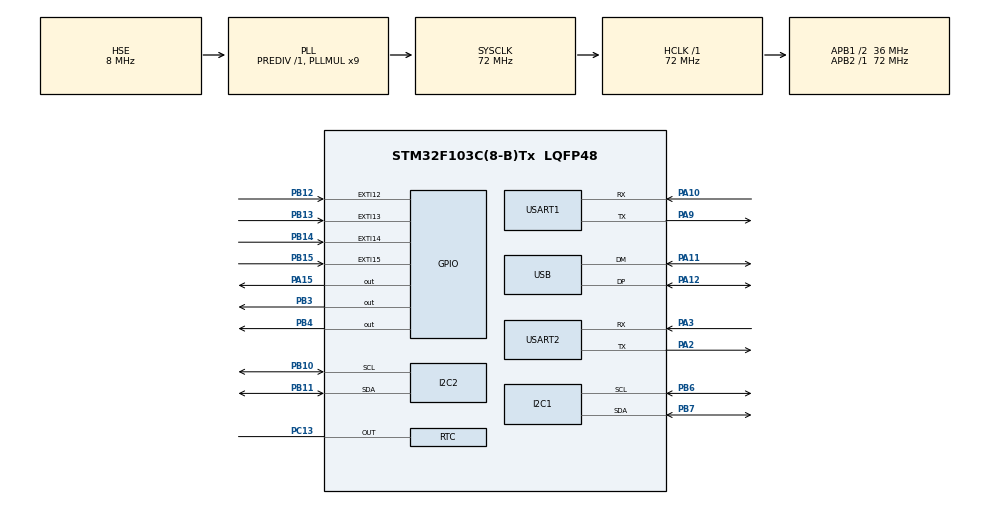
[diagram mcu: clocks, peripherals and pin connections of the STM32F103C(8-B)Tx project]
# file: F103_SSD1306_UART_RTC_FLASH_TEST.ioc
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Dma.I2C2_RX.1.Direction=DMA_PERIPH_TO_MEMORY
Dma.I2C2_RX.1.Instance=DMA1_Channel5
Dma.I2C2_RX.1.MemDataAlignment=DMA_MDATAALIGN_BYTE
Dma.I2C2_RX.1.MemInc=DMA_MINC_ENABLE
Dma.I2C2_RX.1.Mode=DMA_NORMAL
Dma.I2C2_RX.1.PeriphDataAlignment=DMA_PDATAALIGN_BYTE
Dma.I2C2_RX.1.PeriphInc=DMA_PINC_DISABLE
Dma.I2C2_RX.1.Priority=DMA_PRIORITY_LOW
Dma.I2C2_TX.0.Direction=DMA_MEMORY_TO_PERIPH
Dma.I2C2_TX.0.Instance=DMA1_Channel4
Dma.I2C2_TX.0.MemDataAlignment=DMA_MDATAALIGN_BYTE
Dma.I2C2_TX.0.MemInc=DMA_MINC_ENABLE
Dma.I2C2_TX.0.Mode=DMA_NORMAL
Dma.I2C2_TX.0.PeriphDataAlignment=DMA_PDATAALIGN_BYTE
Dma.I2C2_TX.0.PeriphInc=DMA_PINC_DISABLE
Dma.I2C2_TX.0.Priority=DMA_PRIORITY_LOW
Dma.Request0=I2C2_TX
Dma.Request1=I2C2_RX
I2C1.I2C_Mode=I2C_Fast
Mcu.Family=STM32F1
Mcu.Name=STM32F103C(8-B)Tx
Mcu.Package=LQFP48
NVIC.DMA1_Channel4_IRQn=true\:0\:0\:false\:false\:true\:false
NVIC.DMA1_Channel5_IRQn=true\:0\:0\:false\:false\:true\:false
NVIC.EXTI15_10_IRQn=true\:0\:0\:false\:true\:true\:2\:true
NVIC.I2C2_ER_IRQn=true\:0\:0\:false\:false\:true\:true
NVIC.I2C2_EV_IRQn=true\:0\:0\:false\:false\:true\:true
NVIC.PriorityGroup=NVIC_PRIORITYGROUP_4
NVIC.RTC_Alarm_IRQn=true\:0\:0\:false\:true\:true\:4\:true
NVIC.TIM2_IRQn=true\:0\:0\:false\:true\:true\:6\:true
NVIC.TIM4_IRQn=true\:0\:0\:false\:false\:true\:true
NVIC.USART1_IRQn=true\:0\:0\:false\:true\:true\:3\:true
NVIC.USART2_IRQn=true\:0\:0\:false\:true\:true\:7\:true
NVIC.USB_LP_CAN1_RX0_IRQn=true\:0\:0\:false\:true\:true\:5\:true
PA10.Mode=Asynchronous
PA10.Signal=USART1_RX
PA11.Mode=Device
PA11.Signal=USB_DM
PA12.Mode=Device
PA12.Signal=USB_DP
PA13.Mode=Serial_Wire
PA13.Signal=SYS_JTMS-SWDIO
PA14.Mode=Serial_Wire
PA14.Signal=SYS_JTCK-SWCLK
PA15.Signal=GPIO_Output
PA2.Mode=Asynchronous
PA2.Signal=USART2_TX
PA3.Mode=Asynchronous
PA3.Signal=USART2_RX
PA9.Mode=Asynchronous
PA9.Signal=USART1_TX
PB10.Mode=I2C
PB10.Signal=I2C2_SCL
PB11.Mode=I2C
PB11.Signal=I2C2_SDA
PB12.GPIO_ModeDefaultEXTI=GPIO_MODE_IT_FALLING
PB12.Signal=GPXTI12
PB13.GPIO_ModeDefaultEXTI=GPIO_MODE_IT_FALLING
PB13.Signal=GPXTI13
PB14.GPIO_ModeDefaultEXTI=GPIO_MODE_IT_FALLING
PB14.Signal=GPXTI14
PB15.GPIO_ModeDefaultEXTI=GPIO_MODE_IT_FALLING
PB15.Signal=GPXTI15
PB3.Signal=GPIO_Output
PB4.Signal=GPIO_Output
PB6.Mode=I2C
PB6.Signal=I2C1_SCL
PB7.Mode=I2C
PB7.Signal=I2C1_SDA
PC13-TAMPER-RTC.Mode=RTC OUT
PC13-TAMPER-RTC.Signal=RTC_OUT
PC14-OSC32_IN.Mode=LSE-External-Oscillator
PC14-OSC32_IN.Signal=RCC_OSC32_IN
PC15-OSC32_OUT.Mode=LSE-External-Oscillator
PC15-OSC32_OUT.Signal=RCC_OSC32_OUT
PD0-OSC_IN.Mode=HSE-External-Oscillator
PD0-OSC_IN.Signal=RCC_OSC_IN
PD1-OSC_OUT.Mode=HSE-External-Oscillator
PD1-OSC_OUT.Signal=RCC_OSC_OUT
ProjectManager.HeapSize=0x200
ProjectManager.StackSize=0x400
ProjectManager.TargetToolchain=TrueSTUDIO
RCC.ADCPresc=RCC_ADCPCLK2_DIV6
RCC.AHBFreq_Value=72000000
RCC.APB1CLKDivider=RCC_HCLK_DIV2
RCC.APB1Freq_Value=36000000
RCC.APB1TimFreq_Value=72000000
RCC.APB2Freq_Value=72000000
RCC.APB2TimFreq_Value=72000000
RCC.HCLKFreq_Value=72000000
RCC.PLLMUL=RCC_PLL_MUL9
RCC.PLLSourceVirtual=RCC_PLLSOURCE_HSE
RCC.RTCClockSelection=RCC_RTCCLKSOURCE_LSE
RCC.SYSCLKFreq_VALUE=72000000
RCC.SYSCLKSource=RCC_SYSCLKSOURCE_PLLCLK
RCC.USBFreq_Value=48000000
RCC.USBPrescaler=RCC_USBCLKSOURCE_PLL_DIV1_5
RTC.Date=10
RTC.Format=RTC_FORMAT_BCD
RTC.Hours=15
RTC.Hours_A-RTC\ OUT=15
RTC.Minutes=50
RTC.Minutes_A-RTC\ OUT=50
RTC.Month=RTC_MONTH_NOVEMBER
RTC.WeekDay=RTC_WEEKDAY_FRIDAY
RTC.Year=18
TIM2.Period=7199
TIM2.Prescaler=9
TIM4.Period=249
TIM4.Prescaler=7199
USART1.VirtualMode=VM_ASYNC
USART2.VirtualMode=VM_ASYNC
USB_DEVICE.CLASS_NAME_FS=CDC
USB_DEVICE.VirtualMode=Cdc
USB_DEVICE.VirtualModeFS=Cdc_FS
VP_RTC_VS_RTC_Activate.Mode=RTC_Enabled
VP_RTC_VS_RTC_Calendar.Mode=RTC_Calendar
VP_TIM2_VS_ClockSourceINT.Mode=Internal
VP_TIM4_VS_ClockSourceINT.Mode=Internal
VP_USB_DEVICE_VS_USB_DEVICE_CDC_FS.Mode=CDC_FS
board=custom

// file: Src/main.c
/**
  ******************************************************************************
  * @file           : main.c
  * @brief          : Main program body
  ******************************************************************************
  * This notice applies to any and all portions of this file
  * that are not between comment pairs USER CODE BEGIN and
  * USER CODE END. Other portions of this file, whether
  * inserted by the user or by software development tools
  * are owned by their respective copyright owners.
  *
  * Copyright (c) 2018 STMicroelectronics International N.V.
  * All rights reserved.
  *
  * Redistribution and use in source and binary forms, with or without
  * modification, are permitted, provided that the following conditions are met:
  *
  * 1. Redistribution of source code must retain the above copyright notice,
  *    this list of conditions and the following disclaimer.
  * 2. Redistributions in binary form must reproduce the above copyright notice,
  *    this list of conditions and the following disclaimer in the documentation
  *    and/or other materials provided with the distribution.
  * 3. Neither the name of STMicroelectronics nor the names of other
  *    contributors to this software may be used to endorse or promote products
  *    derived from this software without specific written permission.
  * 4. This software, including modifications and/or derivative works of this
  *    software, must execute solely and exclusively on microcontroller or
  *    microprocessor devices manufactured by or for STMicroelectronics.
  * 5. Redistribution and use of this software other than as permitted under
  *    this license is void and will automatically terminate your rights under
  *    this license.
  *
  * THIS SOFTWARE IS PROVIDED BY STMICROELECTRONICS AND CONTRIBUTORS "AS IS"
  * AND ANY EXPRESS, IMPLIED OR STATUTORY WARRANTIES, INCLUDING, BUT NOT
  * LIMITED TO, THE IMPLIED WARRANTIES OF MERCHANTABILITY, FITNESS FOR A
  * PARTICULAR PURPOSE AND NON-INFRINGEMENT OF THIRD PARTY INTELLECTUAL PROPERTY
  * RIGHTS ARE DISCLAIMED TO THE FULLEST EXTENT PERMITTED BY LAW. IN NO EVENT
  * SHALL STMICROELECTRONICS OR CONTRIBUTORS BE LIABLE FOR ANY DIRECT, INDIRECT,
  * INCIDENTAL, SPECIAL, EXEMPLARY, OR CONSEQUENTIAL DAMAGES (INCLUDING, BUT NOT
  * LIMITED TO, PROCUREMENT OF SUBSTITUTE GOODS OR SERVICES; LOSS OF USE, DATA,
  * OR PROFITS; OR BUSINESS INTERRUPTION) HOWEVER CAUSED AND ON ANY THEORY OF
  * LIABILITY, WHETHER IN CONTRACT, STRICT LIABILITY, OR TORT (INCLUDING
  * NEGLIGENCE OR OTHERWISE) ARISING IN ANY WAY OUT OF THE USE OF THIS SOFTWARE,
  * EVEN IF ADVISED OF THE POSSIBILITY OF SUCH DAMAGE.
  *
  ******************************************************************************
  */
#include "main.h"
#include "stm32f1xx_hal.h"
#include "dma.h"
#include "i2c.h"
#include "rtc.h"
#include "tim.h"
#include "usart.h"
#include "usb_device.h"
#include "gpio.h"

/* USER CODE BEGIN Includes */
#include "global.h"
#include "ssd1306.h"
#include "fonts.h"
//#include "stm32f1xx_hal_i2c.h"
#include "flash_eeprom.h"
#include <string.h>
/* USER CODE END Includes */

/* USER CODE BEGIN PV */
// uint8_t Rh_byte1, Rh_byte2, Temp_byte1, Temp_byte2;
uint16_t RH, TEMP;
//uint8_t check = 0;
// int temp_low, temp_high, rh_low, rh_high;

//--------------------------
   uint8_t RX2_RingBuf[64];
   uint8_t RX2_Ptr=0;
   uint8_t RX2_Length=0;
   uint8_t RX2_rdPtr=0;
   uint8_t rx2_data=0;
   uint8_t rd2_data=0;
   uint8_t RX2_ComBuf[32];
   uint8_t rd2_Length=0;
   uint8_t RX2_ComWptr=0;
//--------------------------
   uint8_t RX1_RingBuf[64];
   uint8_t RX1_Ptr=0;
   uint8_t RX1_Length=0;
   uint8_t RX1_rdPtr=0;
   uint8_t rx1_data=0;
   uint8_t rd1_data=0;
   uint8_t RX1_ComBuf[32];
   uint8_t rd1_Length=0;
   uint8_t RX1_ComWptr=0;
//--------------------------
   uint8_t RX_ComBuf[32];
   uint8_t RX_ComWptr=0;
   uint8_t s_len;
   char * command_str[] = {"/s dt", "/s a"};
//--------------------------

   RTC_TimeTypeDef rtc_time;
   RTC_DateTypeDef rtc_date;
// RTC_AlarmTypeDef rtc_alarm;
   volatile uint16_t Buzer_Time=0;
   volatile uint16_t MsageTime=0;

   TIM_User_InitTypeDef tim;

   volatile bool oneSecond_flg = false;     // 1 초 마다 true
   volatile bool oneHundredms_flg = false;     // 100 ms 마다 true
   // volatile bool fiveHundredms_flg = false;    // 500 ms 마다 true
   volatile uint16_t led_delay_time = 1000;

   volatile uint16_t adcval[1];        // ADC1 ch1 번의 외부로 부터 입력받는 변수

/* Private variables ---------------------------------------------------------*/
   extern uint8_t CDC_Transmit_FS(uint8_t* Buf, uint16_t Len);

   void CDC_TX_STR(char* str)
   {
	   CDC_Transmit_FS((uint8_t*)str, strlen(str));
   }

/* USER CODE END PV */

void SystemClock_Config(void);
static void MX_NVIC_Init(void);

/* USER CODE BEGIN PFP */
/* Private function prototypes -----------------------------------------------*/

/* USER CODE END PFP */

/* USER CODE BEGIN 0 */
//-------------------------------------
// 이부분의 정의는 USART2 로 printf 함수를 사용하기 위한 정의 입니다.

#ifdef __GNUC__
int _write(int file, uint8_t *ptr, int len)
{
	HAL_UART_Transmit(&huart2, ptr, len, 1000);
	return len;
}
#elif (__ICCARM__||__CC_ARM)
int fputc(int c, FILE* stream)
{
	HAL_UART_Transmit(&huart2, (uint8_t*)&c,1, 1000);
	return c;
}
#endif

/* USER CODE END 0 */

int main(void)
{

  /* MCU Configuration----------------------------------------------------------*/

  /* Reset of all peripherals, Initializes the Flash interface and the Systick. */
  HAL_Init();

  /* Configure the system clock */
  SystemClock_Config();

  /* Initialize all configured peripherals */
  MX_GPIO_Init();
  MX_DMA_Init();
  MX_USART1_UART_Init();
  MX_RTC_Init();
  MX_I2C2_Init();
  MX_USART2_UART_Init();
  MX_TIM2_Init();
  MX_USB_DEVICE_Init();
  MX_I2C1_Init();
  MX_TIM4_Init();

  /* Initialize interrupts */
  MX_NVIC_Init();
  /* USER CODE BEGIN 2 */

  //==========================================
  // Flash Memory 초기화 및 User Data 저장
  // 한번 실행 하여 초기화 후 저장 했으면 주석 처리 해주세요..
      flash_memory_Init();
      flash_memory_erase();
      flash_memory_write();
  //==========================================

  // oled 128x64 초기화
    ssd1306_Init(&hi2c1);

    ssd1306_ClearScreen();  // ssd1306_Fill(Black);
    ssd1306_SetCursor(0,0);
    ssd1306_WriteString("OLED 128x64 Test", &Font_11x18, White);
    ssd1306_SetCursor(23, 18);
    ssd1306_WriteString("MyTest-7", &Font_11x18, White);
    ssd1306_UpdateScreen();

  //==================================
    HAL_UART_Receive_IT(&huart2,&rx2_data,1);	// 이렇게 1바이트 수신 함수를 호출 해야 수신 인터럽이 시작된다.
    HAL_UART_Receive_IT(&huart1,&rx1_data,1);	// 이렇게 1바이트 수신 함수를 호출 해야 수신 인터럽이 시작된다.
    HAL_TIM_Base_Start_IT(&htim2);			// 처음에 꼭 호출해줘야 TIM2 인터럽이 걸린다.
    HAL_TIM_Base_Start_IT(&htim4);         // 타이머4 인트럽트를 허용(ON)합니다

    printf("STM32F103C8 BluePill Board\r\5-3 OLED128x64_ssd1306-I2C2 Test!\r\n\r\n");		// 테스트 메세지.

    Buzer_Time = 100;

    char msg_str1[(SSD1306_WIDTH/8)+1];
    char msg_str2[(SSD1306_WIDTH/8)+1];
    char Temp_Rh_str[13];
    char str[35];

    char * weekday_str[] = {"SUN", "MON", "TUE", "WED", "THU", "FRI", "SAT"};

    uint32_t  count = 64;

  /* USER CODE END 2 */

  /* Infinite loop */
  /* USER CODE BEGIN WHILE */
    HAL_Delay(3000);
  //  time_start(&delay_time);
  while (1)
  {
	  if(oneSecond_flg)
	  {
		  HAL_RTC_GetDate(&hrtc, &rtc_date, RTC_FORMAT_BIN);
		  HAL_RTC_GetTime(&hrtc, &rtc_time, RTC_FORMAT_BIN);
		  sprintf(msg_str1, "%04d-%02d-%02d %s",
				  rtc_date.Year+2000, rtc_date.Month, rtc_date.Date, weekday_str[rtc_date.WeekDay]);

		  sprintf(msg_str2, "%02d:%02d:%02d",
				  rtc_time.Hours, rtc_time.Minutes, rtc_time.Seconds);

		  ssd1306_ClearScreen();     // ssd1306_Fill(Black);
		  ssd1306_SetCursor(14,0);
		  ssd1306_WriteString(msg_str1, &Font_7x10, White);
		  ssd1306_SetCursor(19, 12);
		  ssd1306_WriteString(msg_str2, &Font_11x18, White);

		  ssd1306_UpdateScreen();

		///////////////메모리에서 데이터 읽기////////////////////////////////////////////////////////////
		// uart2 로 읽은 데이터를 전송한다.
		  printf("Addr = %X, Data = %d\r\n", USER_DATA1, *(__IO uint32_t *)USER_DATA1);
		  printf("Addr = %X, Data = %d\r\n", USER_DATA2, *(__IO uint32_t *)USER_DATA2);
		  printf("Addr = %X, Data = %d\r\n", USER_DATA3, *(__IO uint32_t *)USER_DATA3);
		  printf("Addr = %X, Data = %d\r\n", USER_DATA4, *(__IO uint32_t *)USER_DATA4);
		///////////////////////////////////////////////////////////////////////////////////////////////////

		  oneSecond_flg = false;
	  }
	  //if (oneHundredms_flg)
	  //{

	  //}

  /* USER CODE END WHILE */

  }

}

void SystemClock_Config(void)
{

  RCC_OscInitTypeDef RCC_OscInitStruct;
  RCC_ClkInitTypeDef RCC_ClkInitStruct;
  RCC_PeriphCLKInitTypeDef PeriphClkInit;

    /**Initializes the CPU, AHB and APB busses clocks
    */
  RCC_OscInitStruct.OscillatorType = RCC_OSCILLATORTYPE_HSE|RCC_OSCILLATORTYPE_LSE;
  RCC_OscInitStruct.HSEState = RCC_HSE_ON;
  RCC_OscInitStruct.HSEPredivValue = RCC_HSE_PREDIV_DIV1;
  RCC_OscInitStruct.LSEState = RCC_LSE_ON;
  RCC_OscInitStruct.HSIState = RCC_HSI_ON;
  RCC_OscInitStruct.PLL.PLLState = RCC_PLL_ON;
  RCC_OscInitStruct.PLL.PLLSource = RCC_PLLSOURCE_HSE;
  RCC_OscInitStruct.PLL.PLLMUL = RCC_PLL_MUL9;
  if (HAL_RCC_OscConfig(&RCC_OscInitStruct) != HAL_OK)
  {
    _Error_Handler(__FILE__, __LINE__);
  }

    /**Initializes the CPU, AHB and APB busses clocks
    */
  RCC_ClkInitStruct.ClockType = RCC_CLOCKTYPE_HCLK|RCC_CLOCKTYPE_SYSCLK
                              |RCC_CLOCKTYPE_PCLK1|RCC_CLOCKTYPE_PCLK2;
  RCC_ClkInitStruct.SYSCLKSource = RCC_SYSCLKSOURCE_PLLCLK;
  RCC_ClkInitStruct.AHBCLKDivider = RCC_SYSCLK_DIV1;
  RCC_ClkInitStruct.APB1CLKDivider = RCC_HCLK_DIV2;
  RCC_ClkInitStruct.APB2CLKDivider = RCC_HCLK_DIV1;

  if (HAL_RCC_ClockConfig(&RCC_ClkInitStruct, FLASH_LATENCY_2) != HAL_OK)
  {
    _Error_Handler(__FILE__, __LINE__);
  }

  PeriphClkInit.PeriphClockSelection = RCC_PERIPHCLK_RTC|RCC_PERIPHCLK_USB;
  PeriphClkInit.RTCClockSelection = RCC_RTCCLKSOURCE_LSE;
  PeriphClkInit.UsbClockSelection = RCC_USBCLKSOURCE_PLL_DIV1_5;
  if (HAL_RCCEx_PeriphCLKConfig(&PeriphClkInit) != HAL_OK)
  {
    _Error_Handler(__FILE__, __LINE__);
  }

    /**Configure the Systick interrupt time
    */
  HAL_SYSTICK_Config(HAL_RCC_GetHCLKFreq()/1000);

    /**Configure the Systick
    */
  HAL_SYSTICK_CLKSourceConfig(SYSTICK_CLKSOURCE_HCLK);

  /* SysTick_IRQn interrupt configuration */
  HAL_NVIC_SetPriority(SysTick_IRQn, 0, 0);
}

/**
  * @brief NVIC Configuration.
  * @retval None
  */
static void MX_NVIC_Init(void)
{
  /* EXTI15_10_IRQn interrupt configuration */
  HAL_NVIC_SetPriority(EXTI15_10_IRQn, 0, 0);
  HAL_NVIC_EnableIRQ(EXTI15_10_IRQn);
  /* USART1_IRQn interrupt configuration */
  HAL_NVIC_SetPriority(USART1_IRQn, 0, 0);
  HAL_NVIC_EnableIRQ(USART1_IRQn);
  /* RTC_Alarm_IRQn interrupt configuration */
  HAL_NVIC_SetPriority(RTC_Alarm_IRQn, 0, 0);
  HAL_NVIC_EnableIRQ(RTC_Alarm_IRQn);
  /* USB_LP_CAN1_RX0_IRQn interrupt configuration */
  HAL_NVIC_SetPriority(USB_LP_CAN1_RX0_IRQn, 0, 0);
  HAL_NVIC_EnableIRQ(USB_LP_CAN1_RX0_IRQn);
  /* TIM2_IRQn interrupt configuration */
  HAL_NVIC_SetPriority(TIM2_IRQn, 0, 0);
  HAL_NVIC_EnableIRQ(TIM2_IRQn);
  /* USART2_IRQn interrupt configuration */
  HAL_NVIC_SetPriority(USART2_IRQn, 0, 0);
  HAL_NVIC_EnableIRQ(USART2_IRQn);
}

/* USER CODE BEGIN 4 */

//----------------------------------------------------
void sys_ini(void) // 초기화 함수입니다
{
}
//----------------------------------------------------
void chk_25ms(void) // per25msec
{
	if(led_delay_time == 25)
		   GPIOA->ODR ^= GPIO_PIN_15;
}
//----------------------------------------------------
void chk_100ms(void) // per100msec
{
	//oneHundredms_flg = true;
	if(led_delay_time == 100)
		   GPIOA->ODR ^= GPIO_PIN_15;
}
//----------------------------------------------------
void chk_500ms(void) // per500msec
{
	//fiveHundredms_flg = true;
	if(led_delay_time == 500)
	   GPIOA->ODR ^= GPIO_PIN_15; // PB12 토글 테스트를 합니다
   //HAL_GPIO_TogglePin(GPIOA, GPIO_PIN_15);
}

//----------------------------------------------------
void chk_sec(void) // per1sec
{
	oneSecond_flg = true;
	if(led_delay_time == 1000)
		GPIOA->ODR ^= GPIO_PIN_15;
}
//----------------------------------------------------
void chk_tim(void) // 메인타이머 함수입니다
{
   //tim.flg = false; // 타이머플래그 끄기(OFF)를 합니다
   //----------------per25ms
   chk_25ms(); // 25msec 함수를 호출합니다
   //----------------
   if (++tim.tCnt < 4) return; // no 100ms?
   //----------------per100ms
   chk_100ms(); // 100msec 함수를 호출합니다
   //----------------
   tim.tCnt=0;
   if (++tim.t100ms < 5) return; // no 500ms?
   //----------------per500ms
   chk_500ms(); // 500msec 함수를 호출합니다
   //----------------
   tim.t100ms=0;
   if (++tim.t500ms & 0x1) return; // no 1sec?
   //----------------per1sec

   chk_sec(); // 1sec 함수를 호출합니다
   //----------------
}

void HAL_TIM_PeriodElapsedCallback(TIM_HandleTypeDef *htim)
{
	//===================================================
	// TIM2 = 1msec Interrupt
	if(htim->Instance==TIM2)
	{
		//----------------------------------------
		// HAL_GPIO_TogglePin(GPIOC, GPIO_PIN_13);          // PC13 코글입니다. BluePill 보드
		//----------------------------------------
		if(MsageTime)MsageTime--;

		//----------------------------------------
		if(Buzer_Time)
		{
			Buzer_Time--;
			HAL_GPIO_WritePin(GPIOB, GPIO_PIN_3, GPIO_PIN_RESET);
			if(Buzer_Time==0) HAL_GPIO_WritePin(GPIOB, GPIO_PIN_3, GPIO_PIN_SET);
		}
	}
	if(htim->Instance==TIM4)
	{
		chk_tim();
	}
}

//======================================================================================
void HAL_UART_RxCpltCallback(UART_HandleTypeDef *huart)
{	// 시리얼 수신 인터럽트 입니다.
	//======================================
	if(huart->Instance==USART1)
	{
		HAL_UART_Receive_IT(&huart1,&rx1_data,1);	// 1바이트 수신
		//HAL_UART_Transmit(&huart1,&rx1_data,1,10);	// 1바이트 송신(시리얼 수신데이터를 에코 백 하여 줍니다.)

		RX1_RingBuf[RX1_Ptr]=rx1_data;
		RX1_Length++;
		RX1_Ptr++;
		if(RX1_Ptr>63) RX1_Ptr=0;

		RX1_RingBuf[RX1_Ptr]=0;	// Null
	}
	//======================================
	if(huart->Instance==USART2)
	{
		HAL_UART_Receive_IT(&huart2,&rx2_data,1);	// 1바이트 수신
		//HAL_UART_Transmit(&huart2,&rx2_data,1,10);	// 1바이트 송신(시리얼 수신데이터를 에코 백 하여 줍니다.)

		uart2_read_command();
	}
}

void uart2_read_command(void)
{
	if((rx2_data == (uint8_t) '\n') || (rx2_data == (uint8_t) '\r'))
	{
		RX2_RingBuf[RX2_Ptr] = '\0';   // 마지막에 null 추가 하여 문자열의 끝을 알림

		if((RX2_Ptr >= 23) && (!strncasecmp((char *) RX2_RingBuf, command_str[0], 5)) )
		{
			set_Date_Time(&RX2_RingBuf[6]);    // Set Date Time 함수 호출
		}
		else if((RX2_Ptr >= 13) && (!strncasecmp((char *) RX2_RingBuf, command_str[1], 4)) )
		{
			set_Alarm_Time(&RX2_RingBuf[5]);   // Set Alarm Time 함수 호출
		}
		RX2_Ptr = 0;
	}
	else if(rx2_data == (uint8_t) '\b')  // Back Space
	{
		if(RX2_Ptr > 0)
			RX2_Ptr--;
	}
	else if(RX2_Ptr < 24)   // rxdata data Input to data_buf
	{
		RX2_RingBuf[RX2_Ptr++] = rx2_data;
	}
}

//=================================================================================================
void HAL_RTC_AlarmAEventCallback(RTC_HandleTypeDef *hrtc)
{
	printf("HAL RTC Alarm TEST OK!!\n\r");
}

// 외부 인터럽트 스위치 동작시 실행하는 함수
void HAL_GPIO_EXTI_Callback(uint16_t GPIO_Pin)
{
	switch(GPIO_Pin)
	{
		case GPIO_PIN_15: led_delay_time = 25; break;
		case GPIO_PIN_14: led_delay_time = 100; break;
		case GPIO_PIN_13: led_delay_time = 500; break;
		case GPIO_PIN_12: led_delay_time = 1000;
	}
}

//===============================================================================

void set_Date_Time(uint8_t * dt_str)
{
	RTC_TimeTypeDef sTime;
	RTC_DateTypeDef DateToUpdate;

	for(uint8_t i=0; i<17; i++) dt_str[i] &= 0x0F;

	sTime.Hours = (dt_str[9]*10) + dt_str[10];
	sTime.Minutes = (dt_str[12]*10) + dt_str[13];
	sTime.Seconds = (dt_str[15]*10) + dt_str[16];
	while(HAL_RTC_SetTime(&hrtc, &sTime, RTC_FORMAT_BIN) != HAL_OK);

	uint8_t da = (dt_str[6]*10) + dt_str[7];
	uint8_t mo = (dt_str[3]*10) + dt_str[4];
	uint8_t ye = (dt_str[0]*10) + dt_str[1];
	DateToUpdate.WeekDay = day_of_week(ye, mo, da);
	DateToUpdate.Month = mo;
	DateToUpdate.Date  = da;
	DateToUpdate.Year  = ye;
	while(HAL_RTC_SetDate(&hrtc, &DateToUpdate, RTC_FORMAT_BIN) != HAL_OK);

}

void set_Alarm_Time(uint8_t * dt_str)
{
	RTC_AlarmTypeDef sAlarm;

	for(uint8_t i=0; i<8; i++) dt_str[i] &= 0x0F;

	sAlarm.AlarmTime.Hours = (dt_str[0]*10) + dt_str[1];      //0x17;
	sAlarm.AlarmTime.Minutes = (dt_str[3]*10) + dt_str[4];    //0x45;
	sAlarm.AlarmTime.Seconds = (dt_str[6]*10) + dt_str[7];    //0x0;
	sAlarm.Alarm = RTC_ALARM_A;
	while(HAL_RTC_SetAlarm_IT(&hrtc, &sAlarm, RTC_FORMAT_BIN) != HAL_OK);
}

/* USER CODE END 4 */

void _Error_Handler(char *file, int line)
{
  while(1)
  {
  }
}

/************************ (C) COPYRIGHT STMicroelectronics *****END OF FILE****/
